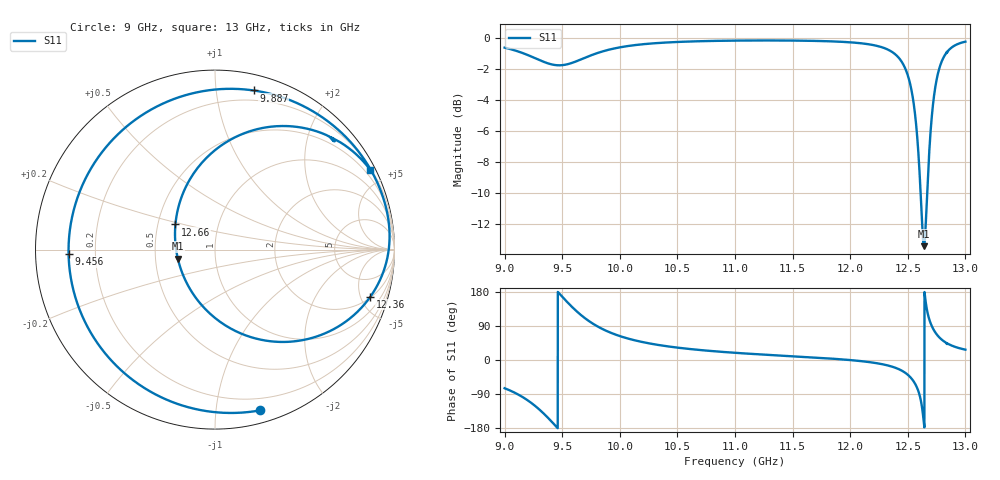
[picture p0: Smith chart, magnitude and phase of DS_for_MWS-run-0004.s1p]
! TOUCHSTONE file generated by CST DESIGN STUDIO
! Date and time: Tue Feb  4 18:00:51 2025
! Project name: C:\Work\MatlabApps\UnitCellOptimizationMatlab\CST\unitcell.cst
! Tree item: Tasks\Sweep1\SPara1\S-Parameters
! Header version: 2024
! Port assignment regex: !\s*Touchstone port\s*([0-9]+)\s*=\s*(CST MWS port|CST DES external port|CST DES block port)\s*(.+)\s* \(\"(.*)\"\)(\s*mode\s*([0-9]+))?.*
! Touchstone port assignment:
! Touchstone port 1 = CST DES external port 1 ("")
# GHz S MA R 50
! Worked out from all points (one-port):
!   4001 points, 9 GHz to 13 GHz, reference 50 ohm
!   lowest |S11| = -13.4 dB at 12.64 GHz (marker M1), VSWR 1.54, Z = 32.7 - j3.41 ohm
!   |S11| at or under -10 dB: 12.61136 GHz to 12.66801 GHz (56.65 MHz wide, 0.448 % of centre)
!   S11 on the Smith chart (normalised r, x): 9 GHz: 0.10, -1.31; 9.456 GHz: 0.10, -0.01; 9.887 GHz: 0.12, +1.26; 12.36 GHz: 2.09, -6.04; 12.66 GHz: 0.62, +0.19; 13 GHz: 0.25, +4.10
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9  0.9301 -74.5
9.141  0.8979 -95.0
9.248  0.8656 -117.1
9.344  0.8359 -142.7
9.456  0.8162 -178.3
9.5  0.8167 167.0
9.592  0.8323 138.1
9.677  0.8566 115.2
9.771  0.8843 95.0
9.887  0.9123 76.4
10  0.9321 63.1
10.215  0.9551 46.2
10.5  0.9701 32.7
11  0.98 19.0
11.5  0.9802 9.8
12  0.9676 -0.2
12.356  0.9046 -16.9
12.438  0.8473 -26.5
12.5  0.7574 -39.0
12.546  0.6331 -54.4
12.579  0.4932 -72.3
12.608  0.335 -99.4
12.64  0.2131 -166.5
12.658  0.2612 147.6
12.706  0.5451 91.1
12.754  0.7453 66.4
12.851  0.9093 42.3
13  0.9723 27.3
